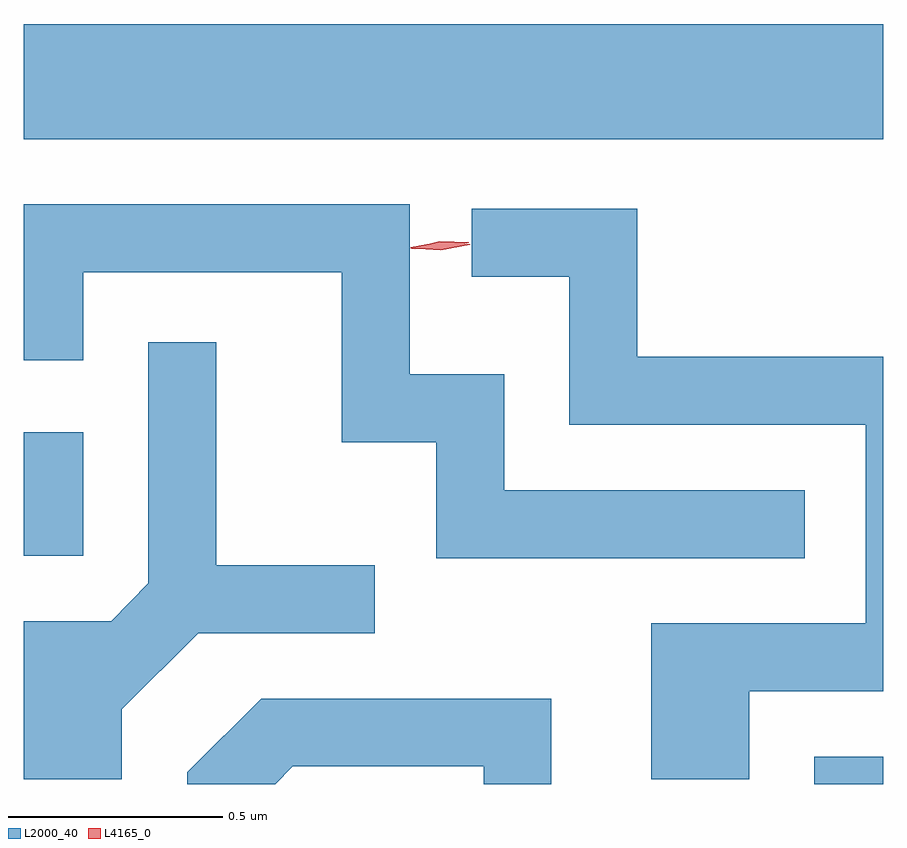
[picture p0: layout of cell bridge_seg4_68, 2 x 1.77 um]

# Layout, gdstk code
import gdstk
lib = gdstk.Library(unit=1e-6, precision=1e-09)
def R(c, l, rs):  # rectangles x0, y0, x1, y1
    for r in rs: c.add(gdstk.rectangle(r[:2], r[2:], *l))
def P(c, l, *ps):  # polygons
    for p in ps: c.add(gdstk.Polygon(p, *l))
L2000_40 = (2000, 40)
L4165_0 = (4165, 0)

bridge_seg4_68 = lib.new_cell('bridge_seg4_68')
R(bridge_seg4_68, L2000_40, [(1507.891,1315.435,1508.051,1315.499), (1506.051,1315.966,1506.189,1316.254), (1506.051,1316.936,1508.051,1317.204)])
P(bridge_seg4_68, L2000_40, [(1507.868,1316.119),(1507.169,1316.119),(1507.169,1316.389),(1506.949,1316.389),(1506.949,1316.784),(1506.051,1316.784),(1506.051,1316.421),(1506.189,1316.421),(1506.189,1316.626),(1506.791,1316.626),(1506.791,1316.231),(1507.011,1316.231),(1507.011,1315.961),(1507.868,1315.961)],
  [(1507.739,1315.651),(1508.051,1315.651),(1508.051,1316.429),(1507.479,1316.429),(1507.479,1316.774),(1507.093,1316.774),(1507.093,1316.616),(1507.321,1316.616),(1507.321,1316.271),(1508.011,1316.271),(1508.011,1315.809),(1507.511,1315.809),(1507.511,1315.446),(1507.739,1315.446)],
  [(1506.279,1315.609),(1506.457,1315.786),(1506.868,1315.786),(1506.868,1315.944),(1506.499,1315.944),(1506.499,1316.463),(1506.341,1316.463),(1506.341,1315.902),(1506.254,1315.814),(1506.051,1315.814),(1506.051,1315.446),(1506.279,1315.446)],
  [(1506.677,1315.476),(1507.121,1315.476),(1507.121,1315.435),(1507.279,1315.435),(1507.279,1315.634),(1506.604,1315.634),(1506.431,1315.462),(1506.431,1315.435),(1506.636,1315.435)])
P(bridge_seg4_68, L4165_0, [(1507.021,1316.677),(1506.951,1316.682),(1506.951,1316.683),(1506.951,1316.684),(1507.02,1316.697),(1507.089,1316.691),(1507.09,1316.691),(1507.089,1316.69)],
  [(1507.021,1316.678),(1506.954,1316.681),(1506.954,1316.681),(1506.954,1316.682),(1507.019,1316.698),(1507.086,1316.696),(1507.086,1316.696),(1507.086,1316.695)])

lib.write_gds('bridge_seg4_68.gds')
